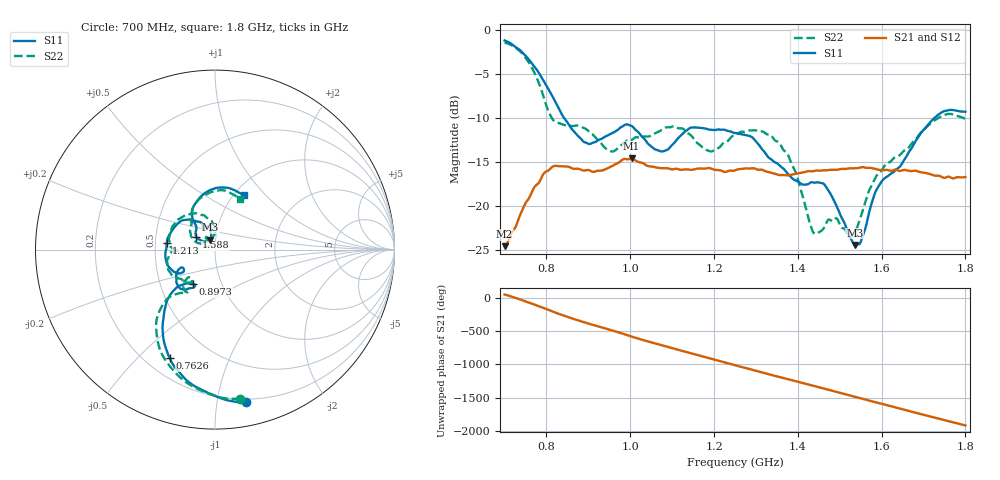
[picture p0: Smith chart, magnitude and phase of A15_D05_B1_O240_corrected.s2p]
! Created with skrf 1.9.0 (http://scikit-rf.org).
# Hz S RI R 50.0
!freq ReS11 ImS11 ReS21 ImS21 ReS12 ImS12 ReS22 ImS22
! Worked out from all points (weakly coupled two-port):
!   1601 points, 700 MHz to 1.8 GHz, reference 50 ohm
!   highest |S21| = -14.58 dB at 1.003 GHz (marker M1); lowest = -24.5 dB at 700 MHz (marker M2)
!   lowest |S11| = -24.4 dB at 1.536 GHz (marker M3), VSWR 1.13, Z = 47.2 + j5.18 ohm
!   |S11| at or under -10 dB: 841.9 MHz to 1.726 GHz (884.1 MHz wide, 68.9 % of centre)
!   |S22| runs from -23.6 to -1.5 dB; largest |S21 - S12| = 0.0035
!   S11 on the Smith chart (normalised r, x): 700 MHz: 0.17, -1.21; 762.6 MHz: 0.30, -0.62; 897.3 MHz: 0.73, -0.29; 1.213 GHz: 0.57, +0.05; 1.588 GHz: 0.81, +0.11; 1.8 GHz: 1.12, +0.76
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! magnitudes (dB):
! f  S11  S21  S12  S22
! 700 MHz  -1.2  -24.5  -24.3  -1.5
! 762.6 MHz  -3.7  -18.7  -18.6  -4.1
! 816.2 MHz  -7.7  -15.5  -15.6  -10.3
! 883.6 MHz  -12.4  -15.9  -15.8  -11.0
! 897.3 MHz  -12.9  -15.9  -16.0  -11.4
! 953.7 MHz  -11.8  -15.5  -15.5  -13.8
! 1.003 GHz  -10.9  -14.6  -14.7  -12.5
! 1.067 GHz  -13.7  -15.6  -15.6  -11.6
! 1.144 GHz  -11.1  -15.9  -15.9  -11.9
! 1.213 GHz  -11.3  -15.9  -15.9  -13.3
! 1.25 GHz  -11.7  -15.9  -15.9  -12.0
! 1.313 GHz  -13.5  -15.9  -16.0  -11.5
! 1.356 GHz  -15.4  -16.5  -16.4  -12.8
! 1.395 GHz  -17.1  -16.3  -16.3  -16.2
! 1.434 GHz  -17.3  -16.0  -16.0  -22.6
! 1.467 GHz  -17.8  -15.9  -15.9  -22.0
! 1.536 GHz  -24.4  -15.7  -15.7  -23.0
! 1.552 GHz  -23.7  -15.6  -15.6  -20.9
! 1.588 GHz  -18.1  -15.8  -15.8  -16.5
! 1.617 GHz  -16.5  -15.9  -15.9  -15.1
! 1.731 GHz  -9.8  -16.5  -16.5  -10.1
! 1.8 GHz  -9.3  -16.7  -16.7  -10.1
